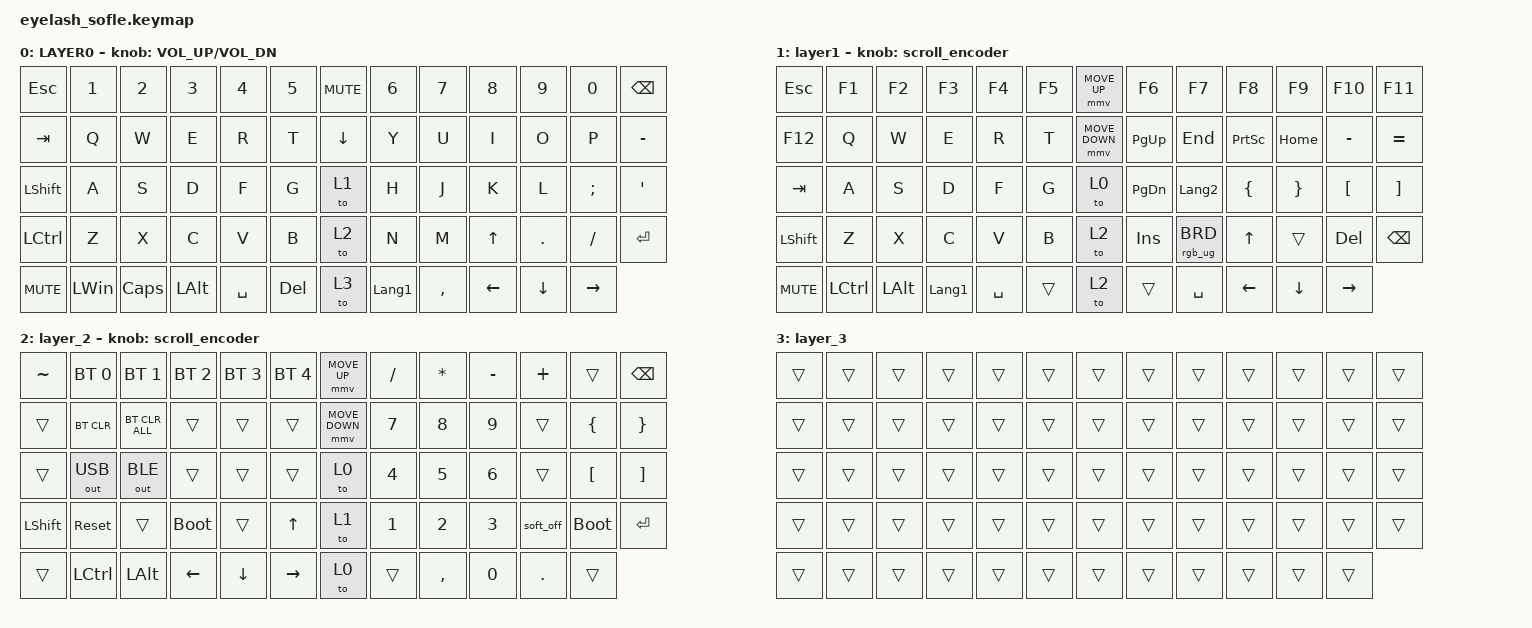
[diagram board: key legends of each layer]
#define ZMK_POINTING_DEFAULT_MOVE_VAL 1200  // 600
#define ZMK_POINTING_DEFAULT_SCRL_VAL 25   // 10

#include <input/processors.dtsi>
#include <zephyr/dt-bindings/input/input-event-codes.h>
#include <behaviors.dtsi>
#include <dt-bindings/zmk/bt.h>
#include <dt-bindings/zmk/keys.h>
#include <dt-bindings/zmk/outputs.h>
#include <dt-bindings/zmk/pointing.h>
#include <dt-bindings/zmk/rgb.h>

&mmv_input_listener { input-processors = <&zip_xy_scaler 2 1>; };

&msc_input_listener { input-processors = <&zip_scroll_scaler 2 1>; };

&msc {
    acceleration-exponent = <1>;      // 0
    time-to-max-speed-ms = <100>;       // 300
    delay-ms = <0>;                   // 0
};

&mmv {
    time-to-max-speed-ms = <500>;
    acceleration-exponent = <1>;
    trigger-period-ms = <16>;
};

/ {
    scroll_encoder: scroll_encoder {
        compatible = "zmk,behavior-sensor-rotate";
        #sensor-binding-cells = <0>;
        bindings = <&msc SCRL_DOWN>, <&msc SCRL_UP>;

        tap-ms = <100>;
    };

    behaviors {
    };

    combos {
        compatible = "zmk,combos";

        d {
            bindings = <&kp TILDE>;
            key-positions = <39 0>;
            slow-release;
            timeout-ms = <500>;
        };

        dd {
            bindings = <&kp PRINTSCREEN>;
            key-positions = <0 55>;
        };

        f1 {
            bindings = <&kp F1>;
            key-positions = <1 57>;
        };

        f2 {
            bindings = <&kp F2>;
            key-positions = <2 57>;
        };

        f3 {
            bindings = <&kp F3>;
            key-positions = <3 57>;
        };

        f4 {
            bindings = <&kp F4>;
            key-positions = <4 57>;
        };

        f5 {
            bindings = <&kp F5>;
            key-positions = <5 57>;
        };

        f6 {
            bindings = <&kp F6>;
            key-positions = <7 59>;
        };

        f7 {
            bindings = <&kp F7>;
            key-positions = <59 8>;
        };

        f8 {
            bindings = <&kp F8>;
            key-positions = <59 9>;
        };

        f {
            bindings = <&kp F9>;
            key-positions = <10 59>;
        };

        f10 {
            bindings = <&kp F10>;
            key-positions = <59 11>;
        };

        f11 {
            bindings = <&kp F11>;
            key-positions = <59 12>;
        };

        f12 {
            bindings = <&kp F12>;
            key-positions = <25 59>;
        };

        ddfs {
            bindings = <&kp LEFT_BRACKET>;
            key-positions = <39 37 26>;
            require-prior-idle-ms = <200>;
            timeout-ms = <350>;
        };

        dfs {
            bindings = <&kp RIGHT_BRACKET>;
            key-positions = <39 38 26>;
            require-prior-idle-ms = <200>;
            timeout-ms = <350>;
        };

        dfsfdfd {
            bindings = <&kp LEFT_BRACE>;
            key-positions = <39 24 26>;
            require-prior-idle-ms = <200>;
            timeout-ms = <350>;
        };

        dsfsdf {
            bindings = <&kp RIGHT_BRACE>;
            key-positions = <39 25 26>;
            require-prior-idle-ms = <200>;
            timeout-ms = <350>;
        };

        dfklajdlksfj {
            bindings = <&kp PIPE>;
            key-positions = <39 59 26>;
            timeout-ms = <500>;
        };

        sdfgs {
            bindings = <&to 2>;
            key-positions = <12 51>;
        };

        sdgcsd {
            bindings = <&to 1>;
            key-positions = <12 38>;
        };

        sdgfasga {
            bindings = <&to 0>;
            key-positions = <12 25>;
        };

        DF {
            bindings = <&kp PLUS>;
            key-positions = <39 26 11>;
            require-prior-idle-ms = <200>;
            timeout-ms = <350>;
        };
    };

    keymap {
        compatible = "zmk,keymap";

        layer0 {
            bindings = <
&kp ESCAPE        &kp N1        &kp N2    &kp N3        &kp N4     &kp N5     &kp K_MUTE      &kp N6          &kp N7     &kp N8        &kp N9    &kp N0     &kp BACKSPACE
&kp TAB           &kp Q         &kp W     &kp E         &kp R      &kp T      &kp DOWN_ARROW  &kp Y           &kp U      &kp I         &kp O     &kp P      &kp MINUS
&kp LEFT_SHIFT    &kp A         &kp S     &kp D         &kp F      &kp G      &to 1           &kp H           &kp J      &kp K         &kp L     &kp SEMI   &kp APOS
&kp LEFT_CONTROL  &kp Z         &kp X     &kp C         &kp V      &kp B      &to 2           &kp N           &kp M      &kp UP_ARROW  &kp DOT   &kp SLASH  &kp ENTER
&kp C_MUTE        &kp LEFT_WIN  &kp CAPS  &kp LEFT_ALT  &kp SPACE  &kp DEL    &to 3           &kp LANGUAGE_1  &kp COMMA  &kp LEFT      &kp DOWN  &kp RIGHT
            >;

            sensor-bindings = <&inc_dec_kp C_VOLUME_UP C_VOL_DN>;
            display-name = "LAYER0";
        };

        layer_1 {
            bindings = <
&kp ESCAPE      &kp F1            &kp F2        &kp F3          &kp F4     &kp F5    &mmv MOVE_UP    &kp F6     &kp F7           &kp F8           &kp F9           &kp F10           &kp F11
&kp F12         &kp Q             &kp W         &kp E           &kp R      &kp T     &mmv MOVE_DOWN  &kp PG_UP  &kp END          &kp PRINTSCREEN  &kp HOME         &kp MINUS         &kp EQUAL
&kp TAB         &kp A             &kp S         &kp D           &kp F      &kp G     &to 0           &kp PG_DN  &kp LANGUAGE_2   &kp LEFT_BRACE   &kp RIGHT_BRACE  &kp LEFT_BRACKET  &kp RIGHT_BRACKET
&kp LEFT_SHIFT  &kp Z             &kp X         &kp C           &kp V      &kp B     &to 2           &kp INS    &rgb_ug RGB_BRD  &kp UP_ARROW     &trans           &kp DEL           &kp BACKSPACE
&kp C_MUTE      &kp LEFT_CONTROL  &kp LEFT_ALT  &kp LANGUAGE_1  &kp SPACE  &trans    &to 2           &trans     &kp SPACE        &kp LEFT_ARROW   &kp DOWN         &kp RIGHT
            >;

            display-name = "layer1";
            sensor-bindings = <&scroll_encoder>;
        };

        layer_2 {
            bindings = <
&kp TILDE       &bt BT_SEL 0      &bt BT_SEL 1    &bt BT_SEL 2    &bt BT_SEL 3    &bt BT_SEL 4    &mmv MOVE_UP    &kp SLASH     &kp ASTERISK  &kp MINUS     &kp PLUS   &trans            &kp BACKSPACE
&trans          &bt BT_CLR        &bt BT_CLR_ALL  &trans          &trans          &trans          &mmv MOVE_DOWN  &kp N7        &kp N8        &kp N9        &trans     &kp LEFT_BRACE    &kp RIGHT_BRACE
&trans          &out OUT_USB      &out OUT_BLE    &trans          &trans          &trans          &to 0           &kp NUMBER_4  &kp N5        &kp NUMBER_6  &trans     &kp LEFT_BRACKET  &kp RIGHT_BRACKET
&kp LEFT_SHIFT  &sys_reset        &trans          &bootloader     &trans          &kp UP_ARROW    &to 1           &kp NUMBER_1  &kp NUMBER_2  &kp NUMBER_3  &soft_off  &bootloader       &kp ENTER
&trans          &kp LEFT_CONTROL  &kp LEFT_ALT    &kp LEFT_ARROW  &kp DOWN_ARROW  &kp RIGHT       &to 0           &trans        &kp COMMA     &kp N0        &kp DOT    &trans
            >;

            sensor-bindings = <&scroll_encoder>;
        };

        layer_3 {
            bindings = <
&trans  &trans  &trans  &trans  &trans  &trans    &trans  &trans  &trans  &trans  &trans  &trans  &trans
&trans  &trans  &trans  &trans  &trans  &trans    &trans  &trans  &trans  &trans  &trans  &trans  &trans
&trans  &trans  &trans  &trans  &trans  &trans    &trans  &trans  &trans  &trans  &trans  &trans  &trans
&trans  &trans  &trans  &trans  &trans  &trans    &trans  &trans  &trans  &trans  &trans  &trans  &trans
&trans  &trans  &trans  &trans  &trans  &trans    &trans  &trans  &trans  &trans  &trans  &trans
            >;
        };
    };
};
